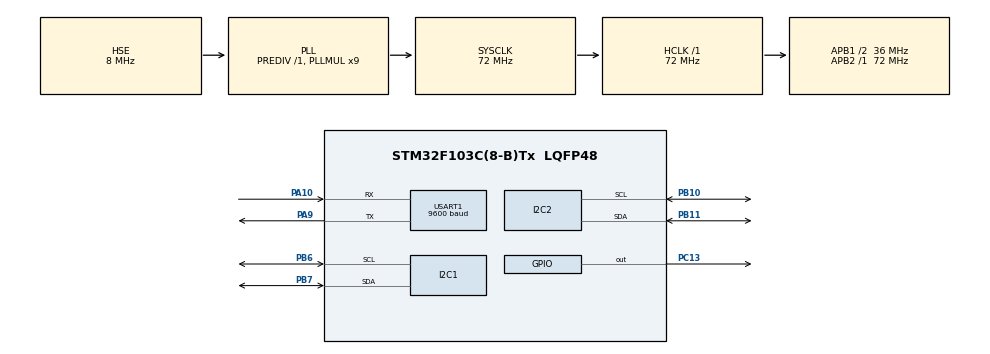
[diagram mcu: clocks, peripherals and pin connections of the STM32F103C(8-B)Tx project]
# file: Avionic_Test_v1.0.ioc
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Mcu.Family=STM32F1
RCC.PLLSourceVirtual=RCC_PLLSOURCE_HSE
PD1-OSC_OUT.Mode=HSE-External-Oscillator
NVIC.I2C1_EV_IRQn=true\:0\:0\:false\:false\:true\:true\:true
PA10.Mode=Asynchronous
PB10.Mode=I2C
USART1.BaudRate=9600
PC13-TAMPER-RTC.Signal=GPIO_Output
PD0-OSC_IN.Signal=RCC_OSC_IN
RCC.APB1CLKDivider=RCC_HCLK_DIV2
PB11.Signal=I2C2_SDA
RCC.SYSCLKSource=RCC_SYSCLKSOURCE_PLLCLK
ProjectManager.StackSize=0x400
PD1-OSC_OUT.Signal=RCC_OSC_OUT
PA13.Signal=SYS_JTMS-SWDIO
PA9.Mode=Asynchronous
PB11.Mode=I2C
ProjectManager.TargetToolchain=STM32CubeIDE
RCC.HCLKFreq_Value=72000000
RCC.APB2TimFreq_Value=72000000
PA9.Signal=USART1_TX
PB6.Signal=I2C1_SCL
PB6.Mode=I2C
RCC.USBFreq_Value=72000000
RCC.AHBFreq_Value=72000000
PB10.Signal=I2C2_SCL
PD0-OSC_IN.Mode=HSE-External-Oscillator
board=custom
RCC.PLLMUL=RCC_PLL_MUL9
RCC.APB2Freq_Value=72000000
PA14.Mode=Serial_Wire
PB7.Signal=I2C1_SDA
PA13.Mode=Serial_Wire
Mcu.Name=STM32F103C(8-B)Tx
RCC.SYSCLKFreq_VALUE=72000000
Mcu.Package=LQFP48
USART1.VirtualMode=VM_ASYNC
PB7.Mode=I2C
PA10.Signal=USART1_RX
PA14.Signal=SYS_JTCK-SWCLK
ProjectManager.HeapSize=0x200
NVIC.I2C2_EV_IRQn=true\:0\:0\:false\:false\:true\:true\:true
NVIC.PriorityGroup=NVIC_PRIORITYGROUP_4
RCC.APB1TimFreq_Value=72000000
NVIC.USART1_IRQn=true\:0\:0\:false\:false\:true\:true\:true
RCC.APB1Freq_Value=36000000

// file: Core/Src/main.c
/* USER CODE BEGIN Header */
/**
  ******************************************************************************
  * @file           : main.c
  * @brief          : Main program body
  ******************************************************************************
  * @attention
  *
  * <h2><center>&copy; Copyright (c) 2021 STMicroelectronics.
  * All rights reserved.</center></h2>
  *
  * This software component is licensed by ST under BSD 3-Clause license,
  * the "License"; You may not use this file except in compliance with the
  * License. You may obtain a copy of the License at:
  *                        opensource.org/licenses/BSD-3-Clause
  *
  ******************************************************************************
  */
/* USER CODE END Header */
#include "main.h"
#include "i2c.h"
#include "usart.h"
#include "gpio.h"

/* USER CODE BEGIN Includes */
#include "GPS.h"
#include "MPU6050.h"
#include "BMP.h"
#include <math.h>
#include <stdlib.h>
/* USER CODE END Includes */

/* USER CODE BEGIN PTD */
void Check_Recovery(void);
double kalman_filter(double);
/* USER CODE END PTD */

/* USER CODE BEGIN PV */
float overall_altitude;
float max_altitude = 0, min_altitude = 99999;

double q = 0.4; 	//process noise covariance
double r = 2; 	//measurement noise covariance
double filtered_val = 0; 	//value
double p = 1; 	//estimation error covariance
double k = 0; 		//kalman gain
/* USER CODE END PV */

void SystemClock_Config(void);
/* USER CODE BEGIN PFP */
void SystemClock_Config(void);
/* USER CODE END PFP */

/* USER CODE BEGIN 0 */
void HAL_UART_RxCpltCallback(UART_HandleTypeDef *huart)
{
  GPS_CallBack();
}
/* USER CODE END 0 */

int main(void)
{

  /* MCU Configuration--------------------------------------------------------*/

  /* Reset of all peripherals, Initializes the Flash interface and the Systick. */
  HAL_Init();

  /* Configure the system clock */
  SystemClock_Config();

  /* Initialize all configured peripherals */
  MX_GPIO_Init();
  MX_I2C1_Init();
  MX_I2C2_Init();
  MX_USART1_UART_Init();
  /* USER CODE BEGIN 2 */
  GPS_Init();
  InitBMP();
  MPU6050_Init();
  /* USER CODE END 2 */

  /* Infinite loop */
  while (1)
  {

    /* USER CODE BEGIN 3 */
	GPS_Process();
	BMP_Process();
	MPU_Process();

	Check_Recovery();
  }
  /* USER CODE END 3 */
}

void SystemClock_Config(void)
{
  RCC_OscInitTypeDef RCC_OscInitStruct = {0};
  RCC_ClkInitTypeDef RCC_ClkInitStruct = {0};

  /** Initializes the RCC Oscillators according to the specified parameters
  * in the RCC_OscInitTypeDef structure.
  */
  RCC_OscInitStruct.OscillatorType = RCC_OSCILLATORTYPE_HSE;
  RCC_OscInitStruct.HSEState = RCC_HSE_ON;
  RCC_OscInitStruct.HSEPredivValue = RCC_HSE_PREDIV_DIV1;
  RCC_OscInitStruct.HSIState = RCC_HSI_ON;
  RCC_OscInitStruct.PLL.PLLState = RCC_PLL_ON;
  RCC_OscInitStruct.PLL.PLLSource = RCC_PLLSOURCE_HSE;
  RCC_OscInitStruct.PLL.PLLMUL = RCC_PLL_MUL9;
  if (HAL_RCC_OscConfig(&RCC_OscInitStruct) != HAL_OK)
  {
    Error_Handler();
  }
  /** Initializes the CPU, AHB and APB buses clocks
  */
  RCC_ClkInitStruct.ClockType = RCC_CLOCKTYPE_HCLK|RCC_CLOCKTYPE_SYSCLK
                              |RCC_CLOCKTYPE_PCLK1|RCC_CLOCKTYPE_PCLK2;
  RCC_ClkInitStruct.SYSCLKSource = RCC_SYSCLKSOURCE_PLLCLK;
  RCC_ClkInitStruct.AHBCLKDivider = RCC_SYSCLK_DIV1;
  RCC_ClkInitStruct.APB1CLKDivider = RCC_HCLK_DIV2;
  RCC_ClkInitStruct.APB2CLKDivider = RCC_HCLK_DIV1;

  if (HAL_RCC_ClockConfig(&RCC_ClkInitStruct, FLASH_LATENCY_2) != HAL_OK)
  {
    Error_Handler();
  }
}

/* USER CODE BEGIN 4 */
void Check_Recovery(void){
//	overall_altitude = GPS.GPGGA.Altitude*0.6 + Altitude*0.4;

	if(filtered_val == 0){
		filtered_val = Altitude;
	}
	else
		filtered_val = kalman_filter(Altitude);

	if(filtered_val > max_altitude)
		max_altitude = filtered_val;
	if(filtered_val < min_altitude)
		min_altitude = filtered_val;

	if(abs(degrees_pitch) > 20.0 || abs(degrees_roll) > 20.0 || abs(GPS.GPRMC.Speed_ms) >= 2.0 || abs(max_altitude - min_altitude) >= 2.5){
		HAL_GPIO_WritePin(GPIOC, GPIO_PIN_13, GPIO_PIN_SET);
	}else{
		HAL_GPIO_WritePin(GPIOC, GPIO_PIN_13, GPIO_PIN_RESET);
	}
}

double kalman_filter(double input){
	p = p + q;
	k = p / (p + r);
	filtered_val = filtered_val + k * (input - filtered_val);
	p = (1 - k) * p;

	return filtered_val;
}
/* USER CODE END 4 */

void Error_Handler(void)
{
  __disable_irq();
  while (1)
  {
  }
}

/************************ (C) COPYRIGHT STMicroelectronics *****END OF FILE****/
